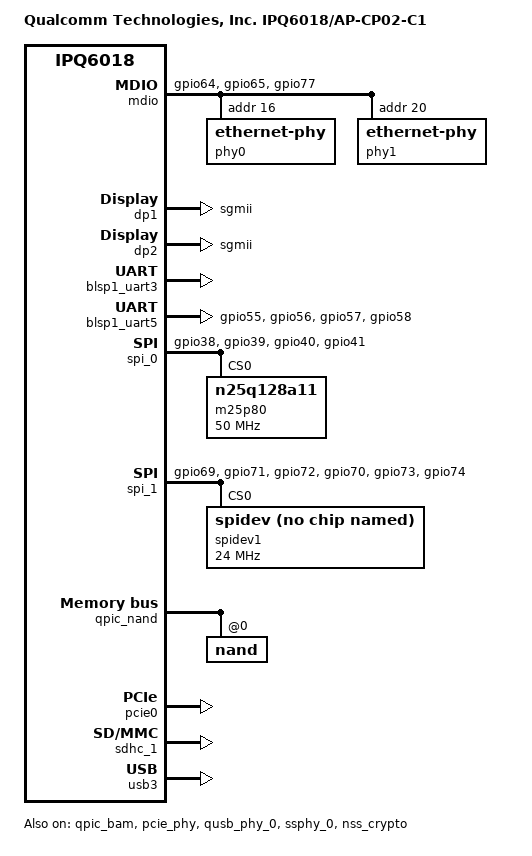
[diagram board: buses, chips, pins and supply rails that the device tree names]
/dts-v1/;
/*
 * Copyright (c) 2019-2020, The Linux Foundation. All rights reserved.
 *
 * Permission to use, copy, modify, and/or distribute this software for any
 * purpose with or without fee is hereby granted, provided that the above
 * copyright notice and this permission notice appear in all copies.
 *
 * THE SOFTWARE IS PROVIDED "AS IS" AND THE AUTHOR DISCLAIMS ALL WARRANTIES
 * WITH REGARD TO THIS SOFTWARE INCLUDING ALL IMPLIED WARRANTIES OF
 * MERCHANTABILITY AND FITNESS. IN NO EVENT SHALL THE AUTHOR BE LIABLE FOR
 * ANY SPECIAL, DIRECT, INDIRECT, OR CONSEQUENTIAL DAMAGES OR ANY DAMAGES
 * WHATSOEVER RESULTING FROM LOSS OF USE, DATA OR PROFITS, WHETHER IN AN
 * ACTION OF CONTRACT, NEGLIGENCE OR OTHER TORTIOUS ACTION, ARISING OUT OF
 * OR IN CONNECTION WITH THE USE OR PERFORMANCE OF THIS SOFTWARE.
 */

#include "ipq6018.dtsi"
#include "ipq6018-cpr-regulator.dtsi"

/ {
	#address-cells = <0x2>;
	#size-cells = <0x2>;
	model = "Qualcomm Technologies, Inc. IPQ6018/AP-CP02-C1";
	compatible = "qcom,ipq6018-ap-cp02-c1", "qcom,ipq6018";
	interrupt-parent = <&intc>;
	qcom,msm-id = <0x192 0x0>, <0x193 0x0>;

	aliases {
		serial0 = &blsp1_uart3;
		serial1 = &blsp1_uart5;
		sdhc1 = &sdhc_1;
		/*
		 * Aliases as required by u-boot
		 * to patch MAC addresses
		 */
		ethernet0 = "/soc/dp1";
		ethernet1 = "/soc/dp2";
	};

	chosen {
		stdout-path = "serial0:115200n8";
		bootargs-append = " swiotlb=1";
	};
};

&tlmm {
	spi_0_pins: spi_0_pins {
		pins = "gpio38", "gpio39", "gpio40", "gpio41";
		function = "blsp0_spi";
		drive-strength = <8>;
		bias-pull-down;
	};

	mdio_pins: mdio_pinmux {
		mux_0 {
			pins = "gpio64";
			function = "mdc";
			drive-strength = <8>;
			bias-pull-up;
		};
		mux_1 {
			pins = "gpio65";
			function = "mdio";
			drive-strength = <8>;
			bias-pull-up;
		};
		mux_2 {
			pins = "gpio77";
			function = "gpio";
			bias-pull-up;
		};
	};

	spi_1_pins: spi_1_pins {
		mux {
			pins = "gpio69", "gpio71", "gpio72";
			function = "blsp1_spi";
			drive-strength = <8>;
			bias-disable;
		};
		spi_cs {
			pins = "gpio70";
			function = "blsp1_spi";
			drive-strength = <8>;
			bias-disable;
		};
		quartz_interrupt {
			pins = "gpio73";
			function = "gpio";
			input;
			bias-disable;
		};
		quartz_reset {
			pins = "gpio74";
			function = "gpio";
			output-low;
			bias-disable;
		};
	};

	hsuart_pins: hsuart_pins {
		mux {
			pins = "gpio55", "gpio56", "gpio57", "gpio58";
			function = "blsp4_uart";
			drive-strength = <8>;
			bias-disable;
		};
	};
};

&soc {
	mdio: mdio@90000 {
		pinctrl-0 = <&mdio_pins>;
		pinctrl-names = "default";
		phy-reset-gpio = <&tlmm 77 0>;
		status = "ok";
		phy0: ethernet-phy@0 {
			reg = <0x10>;
		};
		phy1: ethernet-phy@1 {
			reg = <0x14>;
		};
	};

	dp1 {
		device_type = "network";
		compatible = "qcom,nss-dp";
		qcom,id = <4>;
		reg = <0x3a001600 0x200>;
		qcom,mactype = <0>;
		local-mac-address = [000000000000];
		qcom,link-poll = <1>;
		qcom,phy-mdio-addr = <16>;
		phy-mode = "sgmii";
	};

	dp2 {
		device_type = "network";
		compatible = "qcom,nss-dp";
		qcom,id = <5>;
		reg = <0x3a001800 0x200>;
		qcom,mactype = <0>;
		local-mac-address = [000000000000];
		qcom,link-poll = <1>;
		qcom,phy-mdio-addr = <20>;
		phy-mode = "sgmii";
	};

	ess-switch@3a000000 {
		switch_cpu_bmp = <0x1>;  /* cpu port bitmap */
		switch_lan_bmp = <0x10>; /* lan port bitmap */
		switch_wan_bmp = <0x20>; /* wan port bitmap */
		switch_inner_bmp = <0xc0>; /*inner port bitmap*/
		switch_mac_mode = <0xf>; /* mac mode for uniphy instance0*/
		switch_mac_mode1 = <0xf>; /* mac mode for uniphy instance1*/
		switch_mac_mode2 = <0xff>; /* mac mode for uniphy instance2*/
		qcom,port_phyinfo {
			port@4 {
				port_id = <4>;
				phy_address = <0x10>;
				port_mac_sel = "QGMAC_PORT";
			};
			port@5 {
				port_id = <5>;
				phy_address = <0x14>;
				port_mac_sel = "QGMAC_PORT";
			};
		};
	};

	nss-macsec0 {
		compatible = "qcom,nss-macsec";
		phy_addr = <0x10>;
		phy_access_mode = <0>;
		mdiobus = <&mdio>;
	};
	nss-macsec1 {
		compatible = "qcom,nss-macsec";
		phy_addr = <0x14>;
		phy_access_mode = <0>;
		mdiobus = <&mdio>;
	};

};

&blsp1_uart3 {
	pinctrl-0 = <&serial_3_pins>;
	pinctrl-names = "default";
	status = "ok";
};

&blsp1_uart5 {
	pinctrl-0 = <&hsuart_pins>;
	pinctrl-names = "default";
	dmas = <&blsp_dma 8>,
		<&blsp_dma 9>;
	dma-names = "tx", "rx";
	status = "ok";
};

&spi_0 {
	pinctrl-0 = <&spi_0_pins>;
	pinctrl-names = "default";
	cs-select = <0>;
	status = "ok";

	m25p80@0 {
		#address-cells = <1>;
		#size-cells = <1>;
		reg = <0>;
		compatible = "n25q128a11";
		linux,modalias = "m25p80", "n25q128a11";
		spi-max-frequency = <50000000>;
		use-default-sizes;
	};
};

&spi_1 { /* BLSP1 QUP1 */
	pinctrl-0 = <&spi_1_pins>;
	pinctrl-names = "default";
	cs-select = <0>;
	quartz-reset-gpio = <&tlmm 74 1>;
	status = "ok";
	spidev1: spi@1 {
		compatible = "qca,spidev";
		reg = <0>;
		spi-max-frequency = <24000000>;
	};
};

&qpic_bam {
	status = "ok";
};

&qpic_nand {
	status = "ok";

	nand@0 {
		reg = <0>;
		#address-cells = <1>;
		#size-cells = <1>;

		nand-ecc-strength = <4>;
		nand-ecc-step-size = <512>;
		nand-bus-width = <8>;
	};
};

&pcie_phy {
	status = "ok";
};

&pcie0 {
	status = "ok";
};

&sdhc_1 {
	status = "ok";
};

&qusb_phy_0 {
	status = "ok";
};

&ssphy_0 {
	status = "ok";
};

&usb3 {
	status = "ok";
};

&nss_crypto {
	status = "ok";
};
